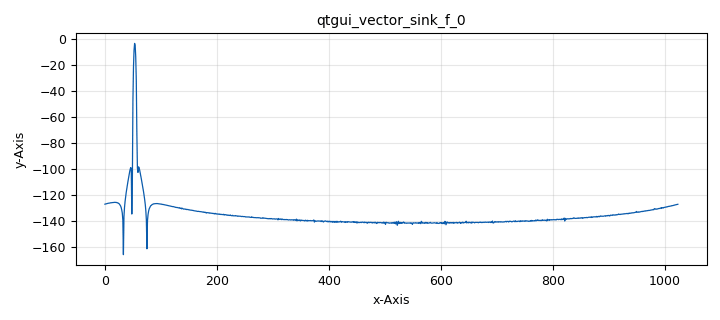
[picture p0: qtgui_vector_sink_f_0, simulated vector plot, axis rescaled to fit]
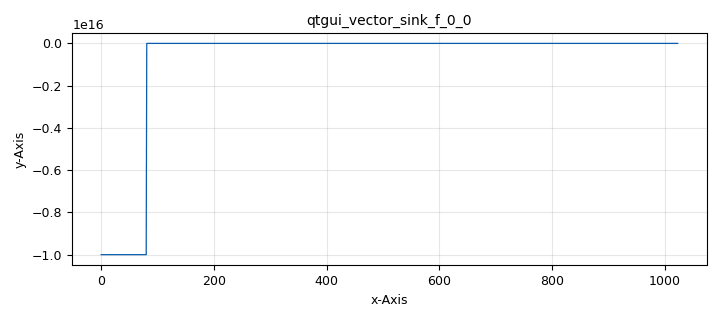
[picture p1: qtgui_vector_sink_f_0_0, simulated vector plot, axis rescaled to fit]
options:
  parameters:
    generate_options: qt_gui
    id: Itrigger2_virtual
    output_language: python
    title: Trigger Virtual
  states: {}

blocks:
- name: bin_high
  id: variable
  parameters:
    value: int((filt_high-(fc-samp_rate/2))/samp_rate*fftsz)
  states: {}
- name: bin_low
  id: variable
  parameters:
    value: int((filt_low-(fc-samp_rate/2))/samp_rate*fftsz)
  states: {}
- name: fc
  id: variable
  parameters:
    value: 14.25e6
  states: {}
- name: fftsz
  id: variable
  parameters:
    value: '1024'
  states: {}
- name: filt_high
  id: variable
  parameters:
    value: 9.1e6
  states: {}
- name: filt_low
  id: variable
  parameters:
    value: 9e6
  states: {}
- name: freq
  id: variable_qtgui_range
  parameters:
    label: Frequency
    start: '-samp_rate/2'
    step: '100'
    stop: samp_rate/2
    value: 1e3
  states: {}
- name: movavg_length
  id: variable
  parameters:
    value: '10'
  states: {}
- name: samp_rate
  id: variable
  parameters:
    value: 200e6/16
  states: {}
- name: analog_sig_source_x_0
  id: analog_sig_source_x
  parameters:
    amp: '1'
    freq: 500e3
    offset: '0'
    phase: '0'
    samp_rate: samp_rate
    type: complex
    waveform: analog.GR_COS_WAVE
  states: {}
- name: blocks_add_const_vxx_0
  id: blocks_add_const_vxx
  parameters:
    const: (-1e16,)*bin_low+(0,)*(bin_high-bin_low)+(-1e6,)*(fftsz-bin_high)
    type: float
    vlen: fftsz
  states: {}
- name: blocks_max_xx_0
  id: blocks_max_xx
  parameters:
    type: float
    vlen: fftsz
    vlen_out: '1'
  states: {}
- name: blocks_moving_average_xx_0
  id: blocks_moving_average_xx
  parameters:
    length: movavg_length
    max_iter: '4000'
    scale: 1/movavg_length
    type: float
  states: {}
- name: blocks_moving_average_xx_0_0
  id: blocks_moving_average_xx
  parameters:
    length: movavg_length*10
    max_iter: '4000'
    scale: 1/(movavg_length*10)
    type: float
  states: {}
- name: blocks_throttle_0_0
  id: blocks_throttle
  parameters:
    samples_per_second: samp_rate
    type: complex
  states: {}
- name: epy_block_1
  id: epy_block
  parameters:
    _source_code: |
      """
      Local Chirp
      By Jaden Keener, Last updated 3/27/23

      Generates a local tone that sweeps the spectrum at the specified slope

      """

      import numpy as np
      import pmt
      from gnuradio import gr


      class blk(gr.sync_block):  

          def __init__(self, slope=100e3, samp_rate=200e6/12, offset = 10e3):
              gr.sync_block.__init__(
                  self,
                  name='Local Chirp Test 1.0',   
                  in_sig=[np.complex64],
                  out_sig=[np.complex64]
              )

              self.slope = slope  
              self.fs = samp_rate
              self.offset = offset
              self.debug = False
              
              self.lastT = 0
              self.lastF = -self.fs/2 + self.offset
              self.spanF = self.lastF + self.fs/2 - self.offset
              self.dt = 1/self.fs
              self.df = self.slope/self.fs/2 #why /2 ?? I have no idea, but it has to be
              # over 2 has something to do with span of f not being -fs/2 to fs/2 but
              # just fs..???
              
              
              self.controlPortName = 'controlIn'
              self.message_port_register_in(pmt.intern(self.controlPortName))
              self.set_msg_handler(pmt.intern(self.controlPortName), self.handle_msg)
              self.control = False
              
                  
              
          def handle_msg(self, msg):
              controlIn = pmt.to_bool(msg)
              
              if controlIn > self.controlLast+self.trigger_Power:
                  self.control = True
              
              self.controlLast = controlIn
              
          def work(self, input_items, output_items):
          
              # Find number of samples on this call
              n = len(input_items[0]) 

              # If we havent progged the whole spectrum
              if self.lastF <= self.offset/2: # WHY OFFSET/2 ??????????? IDK
              
                  # Calculate the values of T and F we prog to on this call
                  newT = self.dt*n + self.lastT
                  newF = self.df*n + self.lastF
                  
                  # Make sure arrays are correct size. Can get slightly offsize due
                  # to float precision errors
                  t = np.resize(np.arange(self.lastT, newT, self.dt), n)
                  f = np.resize(np.arange(self.lastF, newF, self.df), n)
                  
                  # Output is a complex exponential (I/Q)
                  output_items[0][:] = np.exp(1j*2*np.pi*f*t)
                  
                  # Update bookmarks
                  self.lastT = newT
                  self.lastF = newF
              
              # Otherwise do nothing
              else:
                  output_items[0][:] = input_items[0] * 0;
                  if self.debug:
                      self.debug = False
                      raise ValueError(self.lastF)
                  
              
              return len(output_items[0])
    offset: '0'
    samp_rate: samp_rate
    slope: 100e3
  states: {}
- name: epy_block_1_0
  id: epy_block
  parameters:
    _source_code: |
      """ Ionosonde Trigger Block
          By Jaden Keener, 2/5/23
          
          Last updated 2/12/23 12:55
          - Added moving average functionality. Now we shouldn't have to manually set
            trigger threshold
          
          This block records the raw SDR output when a strong enough input is 
          provided. This block is meant to be used alongside a filter. The filter 
          should bandpass the trigger frequency, then go to an average power block
          which then feeds into this blocks first input.
          
          Outputs are purely debug.
          
          See __init__ for additional i/o information
      """

      import numpy as np
      import datetime
      from gnuradio import gr
      import pmt

      class blk(gr.sync_block):  

          def __init__(self, trigger_delta_dB=5, samp_rate = 32E3, capture_window = 5): 
              
              """ INPUTS/OUTPUTS:
                      input[0]: Raw Data from SDR
                      
                      output[0]: debug state information
                      output[1]: debug timer information
                      
                      msg[controlPort]: input from custom FFT filter
                  """
              gr.sync_block.__init__(
                  self,
                  name='Ionosonde Trigger 2.0', 
                  in_sig=[np.complex64, np.float32, np.float32],
                  out_sig=[np.float32, np.float32]
              )
              
              self.trigger_Power = trigger_delta_dB
              self.samp_rate = samp_rate
              self.capture_window = capture_window
              # timer max is calculated as sample rate * capture window in seconds.
              self.timerMax = self.timer = self.samp_rate * self.capture_window
              self.writing = False
              
              # Message Handling
              #self.controlPortName = 'controlIn'
              #self.message_port_register_in(pmt.intern(self.controlPortName))
              #self.set_msg_handler(pmt.intern(self.controlPortName), self.handle_msg)
             
              self.control = False # default for control
              self.controlLast = 10e3
             
          def handle_msg(self, msg):
              controlIn = pmt.to_double(msg)
              
              if controlIn > self.controlLast+self.trigger_Power:
                  self.control = True
              
              self.controlLast = controlIn
             
             
          def work(self, input_items, output_items):
              
              # Check if we are writing
              if self.writing:
                  # If we are and we still have time on the clock
                  if self.timer < self.timerMax:
                      # Then write data to file
                      self.file.write(input_items[0][:])
                      self.timer += len(input_items[0])
                      output_items[0][:] = 2
                  else:
                      # Otherwise close the file and reset flags
                      self.file.close()
                      self.writing = False
                      self.control = False
                      output_items[0][:] = 0
              
              # If not writing, do we have high power on trigger?
              elif np.any(input_items[1] > input_items[2]+self.trigger_power):
                  # Set status variables
                  raise ValueError("Trigger Debug")
                  self.writing = True
                  self.timer = 0
                  output_items[0][:] = 1
                  
                  # Open new file and do first write
                  self.filename = '{date:%Y%m%d_%H%M%S}.chirp'.format(date=datetime.datetime.now())
                  self.file = open(self.filename, "ab")
                  self.file.write(input_items[0][:])
              # Show debug state of none
              else:
                  output_items[0][:] = 0
              
              # For debugging timer
              output_items[1][:] = self.timer
              
              # gnuradio needs this return
              return len(output_items[0])
    capture_window: '5'
    samp_rate: samp_rate
    trigger_delta_dB: '300'
  states: {}
- name: import_0
  id: import
  parameters:
    imports: import math
  states: {}
- name: logpwrfft_x_0
  id: logpwrfft_x
  parameters:
    average: 'False'
    avg_alpha: '1.0'
    fft_size: fftsz
    frame_rate: '30'
    ref_scale: '2'
    sample_rate: samp_rate
    shift: 'True'
    type: complex
  states: {}
- name: qtgui_number_sink_0
  id: qtgui_number_sink
  parameters:
    graph_type: qtgui.NUM_GRAPH_HORIZ
    name: '"average"'
    type: float
  states: {}
- name: qtgui_number_sink_0_0
  id: qtgui_number_sink
  parameters:
    graph_type: qtgui.NUM_GRAPH_HORIZ
    name: '"super avg"'
    type: float
  states: {}
- name: qtgui_number_sink_0_1
  id: qtgui_number_sink
  parameters:
    autoscale: 'True'
    graph_type: qtgui.NUM_GRAPH_HORIZ
    name: '"state"'
    type: float
  states: {}
- name: qtgui_number_sink_0_1_0
  id: qtgui_number_sink
  parameters:
    autoscale: 'True'
    graph_type: qtgui.NUM_GRAPH_HORIZ
    name: '"timer"'
    type: float
  states: {}
- name: qtgui_vector_sink_f_0
  id: qtgui_vector_sink_f
  parameters:
    vlen: '1024'
    x_start: '0'
    x_step: '1.0'
  states: {}
- name: qtgui_vector_sink_f_0_0
  id: qtgui_vector_sink_f
  parameters:
    vlen: '1024'
    x_start: '0'
    x_step: '1.0'
  states: {}
- name: virtual_sink_0
  id: virtual_sink
  parameters:
    stream_id: sig
  states: {}
- name: virtual_source_0
  id: virtual_source
  parameters:
    stream_id: sig
  states: {}

connections:
- [analog_sig_source_x_0, '0', blocks_throttle_0_0, '0']
- [blocks_add_const_vxx_0, '0', blocks_max_xx_0, '0']
- [blocks_add_const_vxx_0, '0', qtgui_vector_sink_f_0_0, '0']
- [blocks_max_xx_0, '0', blocks_moving_average_xx_0, '0']
- [blocks_moving_average_xx_0, '0', blocks_moving_average_xx_0_0, '0']
- [blocks_moving_average_xx_0, '0', epy_block_1_0, '1']
- [blocks_moving_average_xx_0, '0', qtgui_number_sink_0, '0']
- [blocks_moving_average_xx_0_0, '0', epy_block_1_0, '2']
- [blocks_moving_average_xx_0_0, '0', qtgui_number_sink_0_0, '0']
- [blocks_throttle_0_0, '0', epy_block_1, '0']
- [blocks_throttle_0_0, '0', virtual_sink_0, '0']
- [epy_block_1, '0', logpwrfft_x_0, '0']
- [epy_block_1_0, '0', qtgui_number_sink_0_1, '0']
- [epy_block_1_0, '1', qtgui_number_sink_0_1_0, '0']
- [logpwrfft_x_0, '0', blocks_add_const_vxx_0, '0']
- [logpwrfft_x_0, '0', qtgui_vector_sink_f_0, '0']
- [virtual_source_0, '0', epy_block_1_0, '0']

metadata:
  file_format: 1
  grc_version: 3.10.5.0
